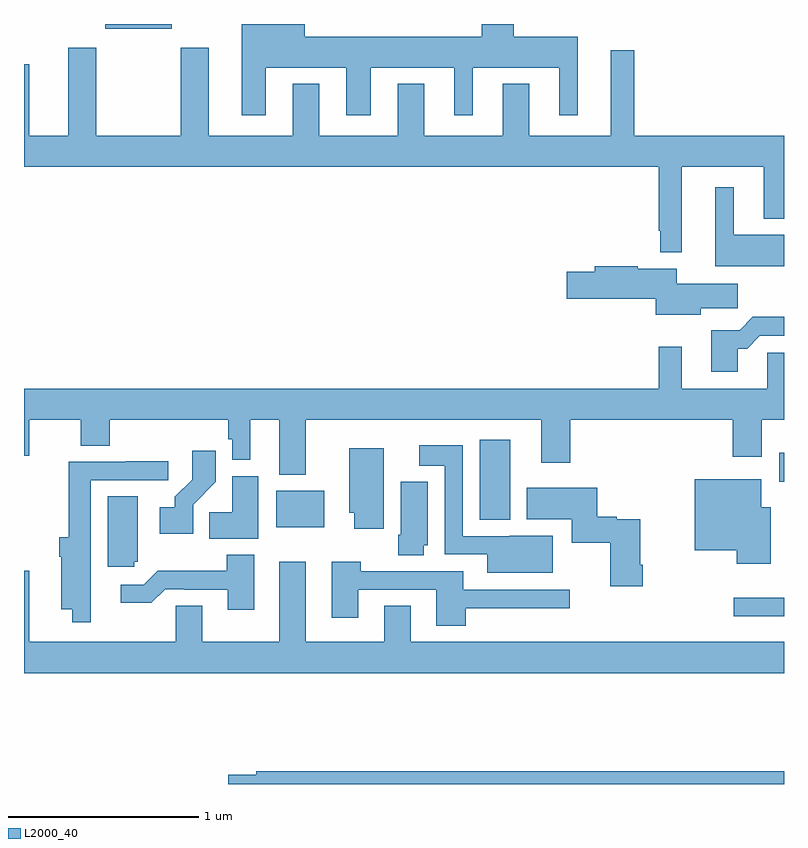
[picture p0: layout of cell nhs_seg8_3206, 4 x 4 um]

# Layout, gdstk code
import gdstk
lib = gdstk.Library(unit=1e-6, precision=1e-09)
def R(c, l, rs):  # rectangles x0, y0, x1, y1
    for r in rs: c.add(gdstk.rectangle(r[:2], r[2:], *l))
def P(c, l, *ps):  # polygons
    for p in ps: c.add(gdstk.Polygon(p, *l))
L2000_40 = (2000, 40)

nhs_seg8_3206 = lib.new_cell('nhs_seg8_3206')
R(nhs_seg8_3206, L2000_40, [(312.735,1132.784,313,1132.881), (310.328,1133.252,310.579,1133.443), (311.399,1133.291,311.56,1133.713), (312.974,1133.49,313,1133.644), (309.428,1135.874,309.778,1135.9)])
P(nhs_seg8_3206, L2000_40, [(310.273,1135.67),(310.697,1135.67),(310.697,1135.419),(310.825,1135.419),(310.825,1135.67),(311.264,1135.67),(311.264,1135.419),(311.362,1135.419),(311.362,1135.67),(311.816,1135.67),(311.816,1135.419),(311.914,1135.419),(311.914,1135.834),(311.578,1135.834),(311.578,1135.9),(311.408,1135.9),(311.408,1135.834),(310.477,1135.834),(310.477,1135.9),(310.145,1135.9),(310.145,1135.419),(310.273,1135.419)],
  [(312.342,1134.811),(312.349,1134.811),(312.349,1134.699),(312.463,1134.699),(312.463,1135.148),(312.893,1135.148),(312.893,1134.875),(313,1134.875),(313,1135.312),(312.211,1135.312),(312.211,1135.762),(312.089,1135.762),(312.089,1135.312),(311.659,1135.312),(311.659,1135.585),(311.519,1135.585),(311.519,1135.312),(311.107,1135.312),(311.107,1135.585),(310.967,1135.585),(310.967,1135.312),(310.555,1135.312),(310.555,1135.585),(310.415,1135.585),(310.415,1135.312),(309.973,1135.312),(309.973,1135.774),(309.826,1135.774),(309.826,1135.312),(309.381,1135.312),(309.381,1135.774),(309.233,1135.774),(309.233,1135.312),(309.028,1135.312),(309.028,1135.687),(309,1135.687),(309,1135.148),(312.342,1135.148)],
  [(313,1134.79),(312.736,1134.79),(312.736,1135.042),(312.638,1135.042),(312.638,1134.626),(313,1134.626)],
  [(312.562,1134.403),(312.757,1134.403),(312.757,1134.532),(312.436,1134.532),(312.436,1134.613),(312.23,1134.613),(312.23,1134.626),(312.005,1134.626),(312.005,1134.596),(311.856,1134.596),(311.856,1134.454),(312.326,1134.454),(312.326,1134.371),(312.562,1134.371)],
  [(312.757,1134.191),(312.806,1134.191),(312.873,1134.258),(313,1134.258),(313,1134.359),(312.836,1134.359),(312.766,1134.289),(312.617,1134.289),(312.617,1134.069),(312.757,1134.069)],
  [(310.483,1133.816),(311.723,1133.816),(311.723,1133.592),(311.876,1133.592),(311.876,1133.816),(312.731,1133.816),(312.731,1133.622),(312.883,1133.622),(312.883,1133.816),(313,1133.816),(313,1134.17),(312.912,1134.17),(312.912,1133.98),(312.463,1133.98),(312.463,1134.202),(312.342,1134.202),(312.342,1133.98),(309,1133.98),(309,1133.628),(309.028,1133.628),(309.028,1133.816),(309.299,1133.816),(309.299,1133.68),(309.452,1133.68),(309.452,1133.816),(310.075,1133.816),(310.075,1133.715),(310.095,1133.715),(310.095,1133.606),(310.192,1133.606),(310.192,1133.816),(310.343,1133.816),(310.343,1133.528),(310.483,1133.528)],
  [(311.782,1133.206),(311.556,1133.206),(311.556,1133.205),(311.31,1133.205),(311.31,1133.683),(311.079,1133.683),(311.079,1133.576),(311.214,1133.576),(311.214,1133.109),(311.438,1133.109),(311.438,1133.012),(311.782,1133.012)],
  [(310.894,1133.668),(310.712,1133.668),(310.712,1133.328),(310.739,1133.328),(310.739,1133.244),(310.894,1133.244)],
  [(309.891,1133.371),(310.01,1133.49),(310.01,1133.653),(309.885,1133.653),(309.885,1133.501),(309.794,1133.411),(309.794,1133.356),(309.714,1133.356),(309.714,1133.216),(309.891,1133.216)],
  [(309.351,1133.499),(309.76,1133.499),(309.76,1133.598),(309.535,1133.598),(309.535,1133.595),(309.235,1133.595),(309.235,1133.2),(309.185,1133.2),(309.185,1133.096),(309.197,1133.096),(309.197,1132.82),(309.253,1132.82),(309.253,1132.752),(309.351,1132.752)],
  [(310.234,1133.521),(310.097,1133.521),(310.097,1133.33),(309.976,1133.33),(309.976,1133.192),(310.234,1133.192)],
  [(312.931,1133.356),(312.88,1133.356),(312.88,1133.503),(312.53,1133.503),(312.53,1133.129),(312.752,1133.129),(312.752,1133.06),(312.931,1133.06)],
  [(311.104,1133.157),(311.125,1133.157),(311.125,1133.491),(310.982,1133.491),(310.982,1133.212),(310.97,1133.212),(310.97,1133.104),(311.104,1133.104)],
  [(312.257,1133.053),(312.244,1133.053),(312.244,1133.293),(312.12,1133.293),(312.12,1133.306),(312.017,1133.306),(312.017,1133.458),(311.645,1133.458),(311.645,1133.294),(311.882,1133.294),(311.882,1133.171),(312.086,1133.171),(312.086,1132.941),(312.257,1132.941)],
  [(309.579,1133.07),(309.598,1133.07),(309.598,1133.414),(309.44,1133.414),(309.44,1133.043),(309.579,1133.043)],
  [(310.213,1133.107),(310.066,1133.107),(310.066,1133.023),(309.703,1133.023),(309.63,1132.95),(309.51,1132.95),(309.51,1132.853),(309.671,1132.853),(309.744,1132.926),(309.844,1132.926),(309.844,1132.923),(310.073,1132.923),(310.073,1132.818),(310.213,1132.818)],
  [(313,1132.648),(311.035,1132.648),(311.035,1132.838),(310.895,1132.838),(310.895,1132.648),(310.483,1132.648),(310.483,1133.071),(310.343,1133.071),(310.343,1132.648),(309.937,1132.648),(309.937,1132.838),(309.798,1132.838),(309.798,1132.648),(309.028,1132.648),(309.028,1133.023),(309,1133.023),(309,1132.484),(313,1132.484)],
  [(311.324,1132.826),(311.872,1132.826),(311.872,1132.923),(311.311,1132.923),(311.311,1133.019),(310.772,1133.019),(310.772,1133.071),(310.619,1133.071),(310.619,1132.776),(310.759,1132.776),(310.759,1132.923),(311.171,1132.923),(311.171,1132.734),(311.324,1132.734)],
  [(313,1131.968),(310.222,1131.968),(310.222,1131.948),(310.076,1131.948),(310.076,1131.9),(313,1131.9)])

lib.write_gds('nhs_seg8_3206.gds')
